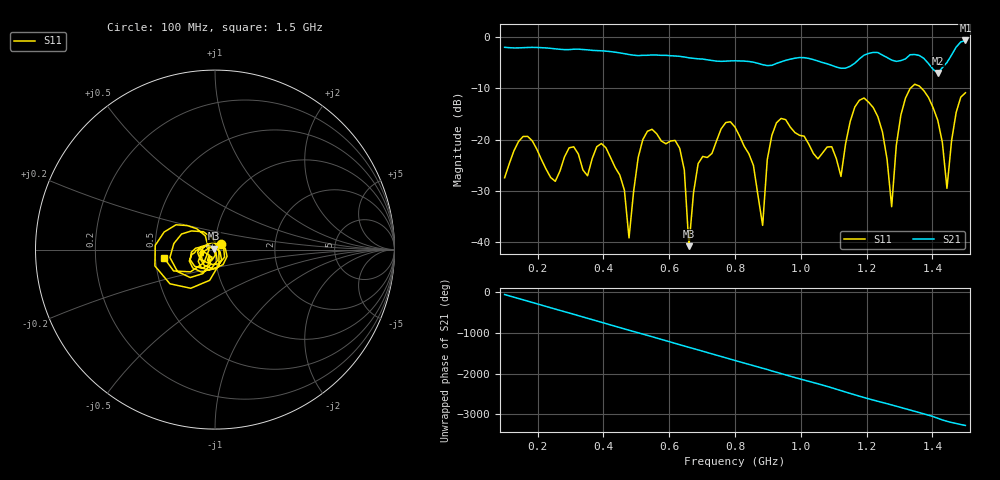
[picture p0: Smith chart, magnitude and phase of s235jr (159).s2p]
! NanoVNA-App
! Date: 2025-09-25 15:05:24
! Start: 100MHz Stop: 1,5GHz Points: 101
! S-Parameter data: F S11 S21 S12 S22
# Hz S RI R 50
!  Frequency  S11_Real  S11_Imag  S21_Real  S21_Imag  S12_Real  S12_Imag  S22_Real  S22_Imag
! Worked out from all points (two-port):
!   101 points, 100 MHz to 1.5 GHz, reference 50 ohm
!   highest |S21| = -0.62 dB at 1.5 GHz (marker M1); lowest = -7.0 dB at 1.416 GHz (marker M2)
!   |S21| within 3 dB of the highest: start of sweep to 607.6 MHz; 1.19 GHz to 1.252 GHz (62.37 MHz wide, 5.11 % of centre) (the widest 2 of 4)
!   lowest |S11| = -40.9 dB at 660 MHz (marker M3), VSWR 1.02, Z = 49.3 + j0.547 ohm
!   |S11| at or under -10 dB: start of sweep to 1.333 GHz; 1.367 GHz to end of sweep
!   S12 and S22 are empty: the file has one direction only
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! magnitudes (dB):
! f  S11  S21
! 100 MHz  -27.5  -2.0
! 156 MHz  -19.4  -2.0
! 338 MHz  -26.0  -2.4
! 408 MHz  -21.6  -2.7
! 478 MHz  -39.2  -3.4
! 520 MHz  -20.0  -3.5
! 576 MHz  -20.3  -3.5
! 632 MHz  -21.7  -3.7
! 660 MHz  -40.9  -4.0
! 688 MHz  -24.7  -4.2
! 800 MHz  -17.6  -4.6
! 884 MHz  -36.8  -5.4
! 926 MHz  -16.7  -5.1
! 1.038 GHz  -22.7  -4.4
! 1.122 GHz  -27.2  -6.1
! 1.192 GHz  -11.9  -3.5
! 1.248 GHz  -18.5  -3.5
! 1.276 GHz  -33.1  -4.5
! 1.332 GHz  -10.0  -3.4
! 1.416 GHz  -16.2  -7.0
! 1.444 GHz  -29.5  -4.9
! 1.5 GHz  -10.9  -0.6
